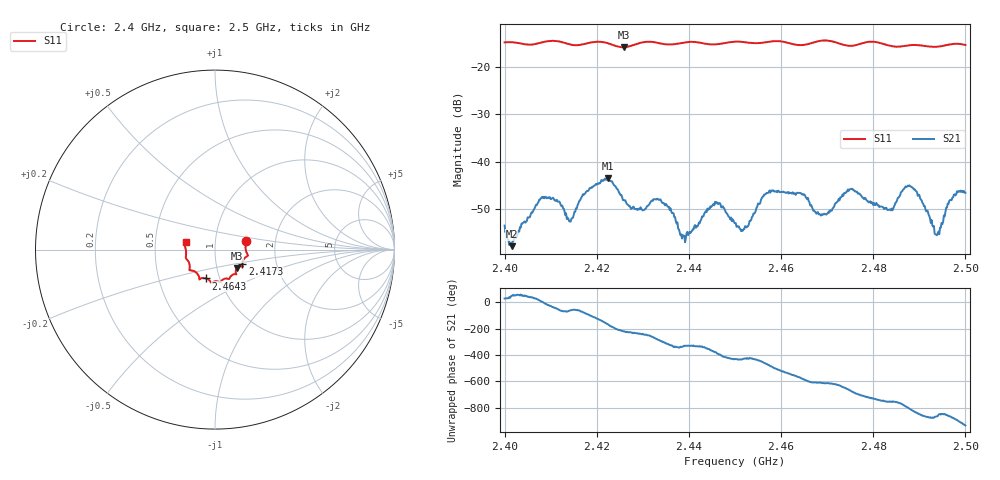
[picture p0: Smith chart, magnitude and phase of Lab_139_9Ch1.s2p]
# Hz S RI R 50
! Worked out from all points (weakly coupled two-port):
!   601 points, 2.4 GHz to 2.5 GHz, reference 50 ohm
!   highest |S21| = -43.52 dB at 2.4223 GHz (marker M1); lowest = -57.8 dB at 2.4015 GHz (marker M2)
!   lowest |S11| = -15.9 dB at 2.4258 GHz (marker M3), VSWR 1.38, Z = 62.3 - j13.3 ohm
!   |S11| at or under -10 dB: start of sweep to end of sweep
!   S12 and S22 are empty: the file has one direction only
!   S11 on the Smith chart (normalised r, x): 2.4 GHz: 1.41, +0.14; 2.4173 GHz: 1.34, -0.23; 2.4643 GHz: 0.86, -0.28; 2.5 GHz: 0.72, +0.06
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2.4e9  0.173 0.0497  0.00186 0.00102  0 0  0 0
2.4015e9  0.1751 0.0439  0.000841 0.00098  0 0  0 0
2.408e9  0.178 -0.021  0.00414 0.000321  0 0  0 0
2.414e9  0.1654 -0.0466  0.00101 -0.00215  0 0  0 0
2.416667e9  0.153 -0.0747  0.00145 -0.00395  0 0  0 0
2.417333e9  0.1523 -0.082  0.000749 -0.00451  0 0  0 0
2.422333e9  0.1495 -0.0937  -0.00643 -0.00174  0 0  0 0
2.425833e9  0.1216 -0.1037  -0.00299 0.00255  0 0  0 0
2.433333e9  0.1127 -0.1366  0.00104 0.00388  0 0  0 0
2.438833e9  0.0813 -0.1587  0.00148 0.000765  0 0  0 0
2.445667e9  0.0502 -0.1637  0.0036 -0.00115  0 0  0 0
2.45e9  0.0296 -0.1809  0.000774 -0.00212  0 0  0 0
2.452333e9  0.0213 -0.1787  0.000869 -0.0019  0 0  0 0
2.457333e9  -0.0153 -0.1818  -0.00207 -0.00432  0 0  0 0
2.464333e9  -0.0503 -0.1605  -0.0038 0.00269  0 0  0 0
2.466667e9  -0.0762 -0.1598  -0.00134 0.00309  0 0  0 0
2.475333e9  -0.1098 -0.1238  0.00365 0.00362  0 0  0 0
2.483333e9  -0.1409 -0.0895  0.00258 -0.00173  0 0  0 0
2.488e9  -0.1604 -0.0509  4.01e-05 -0.00553  0 0  0 0
2.493833e9  -0.1618 -0.00332  -0.00138 -0.000958  0 0  0 0
2.496667e9  -0.1694 0.0243  -0.00328 -0.0022  0 0  0 0
2.5e9  -0.1636 0.042  -0.0039 0.00265  0 0  0 0
